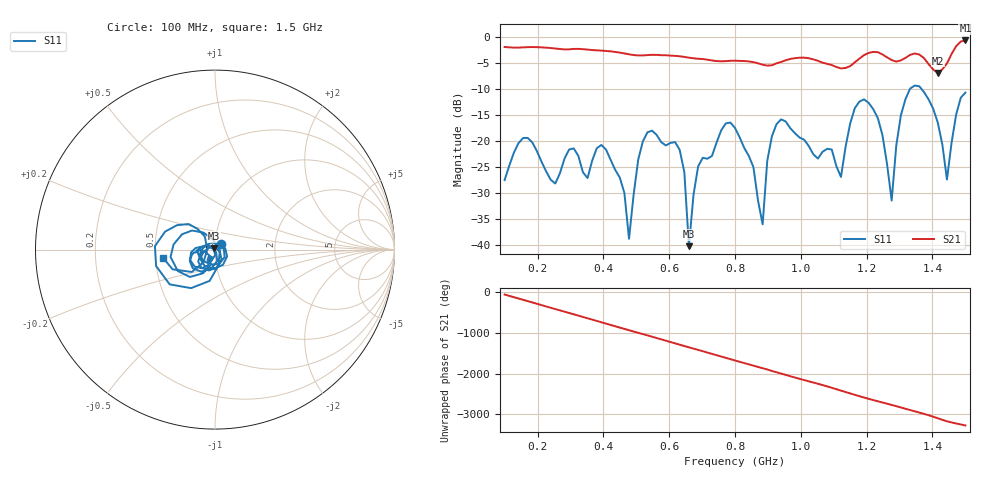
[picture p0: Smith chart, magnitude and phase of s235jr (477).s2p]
! NanoVNA-App
! Date: 2025-09-25 15:07:52
! Start: 100MHz Stop: 1,5GHz Points: 101
! S-Parameter data: F S11 S21 S12 S22
# Hz S RI R 50
!  Frequency  S11_Real  S11_Imag  S21_Real  S21_Imag  S12_Real  S12_Imag  S22_Real  S22_Imag
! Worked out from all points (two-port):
!   101 points, 100 MHz to 1.5 GHz, reference 50 ohm
!   highest |S21| = -0.71 dB at 1.5 GHz (marker M1); lowest = -6.9 dB at 1.416 GHz (marker M2)
!   |S21| within 3 dB of the highest: start of sweep to 626.8 MHz; 1.188 GHz to 1.256 GHz (68.03 MHz wide, 5.57 % of centre) (the widest 2 of 4)
!   lowest |S11| = -40.1 dB at 660 MHz (marker M3), VSWR 1.02, Z = 49.3 + j0.635 ohm
!   |S11| at or under -10 dB: start of sweep to 1.332 GHz; 1.366 GHz to end of sweep
!   S12 and S22 are empty: the file has one direction only
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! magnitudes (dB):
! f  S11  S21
! 100 MHz  -27.5  -2.0
! 156 MHz  -19.4  -2.0
! 338 MHz  -26.0  -2.4
! 408 MHz  -21.6  -2.7
! 478 MHz  -38.7  -3.4
! 520 MHz  -20.1  -3.6
! 576 MHz  -20.2  -3.5
! 632 MHz  -21.7  -3.7
! 660 MHz  -40.1  -4.0
! 688 MHz  -24.8  -4.2
! 800 MHz  -17.5  -4.6
! 884 MHz  -36.0  -5.4
! 926 MHz  -16.8  -5.1
! 1.038 GHz  -22.5  -4.3
! 1.122 GHz  -26.9  -6.1
! 1.192 GHz  -12.0  -3.5
! 1.234 GHz  -15.6  -3.0
! 1.276 GHz  -31.4  -4.5
! 1.332 GHz  -9.9  -3.5
! 1.416 GHz  -16.4  -6.9
! 1.444 GHz  -27.4  -5.1
! 1.5 GHz  -10.7  -0.7
